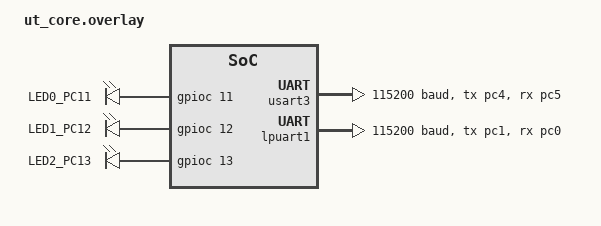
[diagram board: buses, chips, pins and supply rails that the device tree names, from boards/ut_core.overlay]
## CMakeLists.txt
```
# SPDX-License-Identifier: Apache-2.0

cmake_minimum_required(VERSION 3.20.0)

set(BOARD ut_core)

find_package(Zephyr REQUIRED HINTS $ENV{ZEPHYR_BASE})
project(gnss_node)

target_sources(app PRIVATE
    src/main.c
    #gps_test_app.c
    orion_b16/orion_b16_parser.c
    orion_b16/orion_b16_commands.c
    orion_b16/orion_b16_driver.c
    orion_b16/orion_b16_config.c
)

target_include_directories(app PRIVATE
    ${CMAKE_CURRENT_SOURCE_DIR}/orion_b16
    $ENV{ROOT}
)

add_subdirectory($ENV{ROOT}/common ${CMAKE_BINARY_DIR}/common)
target_link_libraries(app PRIVATE common)
```

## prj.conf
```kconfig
# # --- FLASH ---
# CONFIG_FLASH=y
# CONFIG_FLASH_MAP=y
# CONFIG_MPU_ALLOW_FLASH_WRITE=y

# CONFIG_CACHE_MANAGEMENT=y

# CONFIG_SERIAL=y
# CONFIG_UART_INTERRUPT_DRIVEN=y
# CONFIG_I2C=y
# CONFIG_CAN=y
# CONFIG_CAN_STM32_FDCAN=y

# # --- CONSOLE (UART on USART3) ---
# CONFIG_CONSOLE=y
# CONFIG_STDOUT_CONSOLE=y
# CONFIG_UART_CONSOLE=y

# # --- PRINTK / LOGGING ---
# CONFIG_PRINTK=y
# CONFIG_LOG=y
# CONFIG_LOG_BACKEND_UART=y
# CONFIG_LOG_MODE_DEFERRED=y
# CONFIG_LOG_BUFFER_SIZE=4096

# CONFIG_CBPRINTF_FP_SUPPORT=y

# CONFIG_MAIN_STACK_SIZE=4096

# CONFIG_GPIO=y
# CONFIG_CAN=y
# CONFIG_CAN_STM32_FDCAN=y

# # --- LOGGING & CONSOLE SETUP (RTT) ---
# # 1. Force the Console subsystem to stay ON
# CONFIG_CONSOLE=y
# CONFIG_STDOUT_CONSOLE=y

# # 2. Configure RTT as the backend
# CONFIG_USE_SEGGER_RTT=y
# CONFIG_RTT_CONSOLE=y

# # 3. Disable UART/Serial to prevent conflicts
# CONFIG_UART_CONSOLE=n
# CONFIG_SERIAL=n

# # 4. Connect Printk and Logging to RTT
# CONFIG_PRINTK=y
# CONFIG_LOG=y
# CONFIG_LOG_BACKEND_RTT=y
# CONFIG_LOG_BACKEND_UART=n
# CONFIG_LOG_MODE_IMMEDIATE=y

# CONFIG_NEWLIB_LIBC=y
# CONFIG_NEWLIB_LIBC_FLOAT_PRINTF=y


# ── Core ──
CONFIG_GPIO=y
CONFIG_I2C=y
CONFIG_MAIN_STACK_SIZE=4096

# ── Serial / UART (needed for GNSS on LPUART1) ──
CONFIG_SERIAL=y
CONFIG_UART_INTERRUPT_DRIVEN=y

# ── Console via Segger RTT (not UART) ──
CONFIG_CONSOLE=y
CONFIG_STDOUT_CONSOLE=y
CONFIG_USE_SEGGER_RTT=y
CONFIG_RTT_CONSOLE=y
CONFIG_UART_CONSOLE=n

# ── Logging via RTT ──
CONFIG_PRINTK=y
CONFIG_LOG=y
CONFIG_LOG_BACKEND_RTT=y
CONFIG_LOG_BACKEND_UART=n
CONFIG_LOG_MODE_IMMEDIATE=y
CONFIG_LOG_BUFFER_SIZE=4096

# ── Float printing (needed for lat/lon in LOG_INF) ──
CONFIG_NEWLIB_LIBC=y
CONFIG_NEWLIB_LIBC_FLOAT_PRINTF=y
CONFIG_CBPRINTF_FP_SUPPORT=y

# ── Flash ──
CONFIG_FLASH=y
CONFIG_FLASH_MAP=y
CONFIG_MPU_ALLOW_FLASH_WRITE=y
CONFIG_CACHE_MANAGEMENT=y

# ── CAN (if your board uses FDCAN) ──
CONFIG_CAN=y
CONFIG_CAN_STM32_FDCAN=y
CONFIG_CAN_FD_MODE=y
```

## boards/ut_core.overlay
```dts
#include <zephyr/dt-bindings/gpio/gpio.h>

/ {
    pins {
        compatible = "gpio-leds";

        led0: led_0 {
            gpios = <&gpioc 11 GPIO_ACTIVE_HIGH>;
            label = "LED0_PC11";
        };

        led1: led_1 {
            gpios = <&gpioc 12 GPIO_ACTIVE_HIGH>;
            label = "LED1_PC12";
        };

        led2: led_2 {
            gpios = <&gpioc 13 GPIO_ACTIVE_HIGH>;
            label = "LED2_PC13";
        };
    };

    aliases {
        led0 = &led0;
        led1 = &led1;
        led2 = &led2;
    };

    chosen {
        zephyr,console = &usart3;
    };
};

&pinctrl {
    /* Console UART: USART3 on PC4 (TX) / PC5 (RX) */
    usart3_tx_pc4: usart3_tx_pc4 {
        pinmux = <STM32_PINMUX('C', 4, AF7)>;
    };

    usart3_rx_pc5: usart3_rx_pc5 {
        pinmux = <STM32_PINMUX('C', 5, AF7)>;
    };

    /* GNSS UART: LPUART1 on PC1 (TX) / PC0 (RX) → Orion B16 */
    lpuart1_tx_pc1: lpuart1_tx_pc1 {
        pinmux = <STM32_PINMUX('C', 1, AF8)>;
    };

    lpuart1_rx_pc0: lpuart1_rx_pc0 {
        pinmux = <STM32_PINMUX('C', 0, AF8)>;
    };
};

/* Console to PC */
&usart3 {
    status = "okay";
    current-speed = <115200>;
    pinctrl-0 = <&usart3_tx_pc4 &usart3_rx_pc5>;
    pinctrl-names = "default";
};

/* GNSS receiver (Orion B16) */
&lpuart1 {
    status = "okay";
    current-speed = <115200>;
    pinctrl-0 = <&lpuart1_tx_pc1 &lpuart1_rx_pc0>;
    pinctrl-names = "default";
};
```

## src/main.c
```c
/**
 * @defgroup gnss GNSS
 * @ingroup apps
 * @brief Global Navigation Satellite System
 * @include{doc} ./apps/GNSS/README.md
 */

/**
 * @file main.c
 * @ingroup gnss
 * @brief Orion B16 GNSS driver + CAN telemetry for UT-CORE bus.
 *
 * Initializes the Orion B16 GNSS receiver over UART and a CAN transceiver,
 * then runs a loop broadcasting heartbeats and periodic GNSS state-of-health
 * and position telemetry, while a separate thread handles incoming CAN
 * commands (position queries, update-rate changes) from CDH.
 *
 * @todo move CAN code shared between apps into the `common/` directory at git root.
 */

#include <zephyr/kernel.h>
#include <zephyr/device.h>
#include <zephyr/devicetree.h>
#include <zephyr/drivers/gpio.h>
#include <zephyr/drivers/can.h>
#include <zephyr/logging/log.h>
#include <string.h>

#include "orion_b16_driver.h"
#include "orion_b16_protocol.h"
#include "orion_b16_messages.h"
#include "common/can_proto.h"

/** @cond */ /* Hidden from Doxygen, or it will mistake this as a function */
LOG_MODULE_REGISTER(gnss_app, CONFIG_LOG_DEFAULT_LEVEL);
/** @endcond */

/* ===================================================== */
/* ================= CAN PROTOCOL ====================== */
/* ===================================================== */
/*
 * @name CAN Protocol
 * @brief Node IDs, priorities, and timing constants used on the bus.
 * @{
 */

#define NODE_ID       GNSS_ID   /* 0x06 */
#define NODE_CDH      CDH_ID    /* 0x01 */

#define PRIO_HIGH  0
#define PRIO_MED   2
#define PRIO_LOW   4

#define TIME_INTERVAL_MS   (60*60*1000) /* Send GPS time to CDH every hour */


/* @} */

/* ===================================================== */
/* ================= HW DEVICES ======================== */
/* ===================================================== */
/*
 * @name Hardware Devices
 * @brief GPIO/CAN device handles, transceiver pins, GNSS driver instance,
 *        and the CAN RX message queue.
 * @{
 */

static const struct device *const gpioa  = DEVICE_DT_GET(DT_NODELABEL(gpioa));
static const struct device *const can_dev = DEVICE_DT_GET(DT_NODELABEL(fdcan1));

/* GNSS driver instance */
static orion_driver_t gnss_driver;

/** @cond */ /* Hidden from Doxygen, or it will mistake this as a function */
/* CAN RX queue */
CAN_MSGQ_DEFINE(rxq, 16);
/** @endcond */

/* @} */

/* ===================================================== */
/* ================= CAN TX ============================ */
/* ===================================================== */
/*
 * @name CAN TX
 * @brief Outbound CAN frame construction: heartbeat, state-of-health, and
 *        position telemetry.
 * @{
 */

/**
 * @brief Broadcast an OP_HEARTBEAT frame announcing this node is alive.
 *
 * Sent periodically from main()'s loop at HEARTBEAT_INTERVAL_MS.
 */
static void send_heartbeat(void)
{
    int err = can_send2(can_dev, NODE_ID, CAN_BROADCAST, OP_HEARTBEAT, PRIO_LOW, 0x00, 0x00);
    if (err) {
        LOG_WRN("Failed to send CAN reply: %d", err);
    }
    LOG_INF("TX heartbeat");
}

/**
 * @brief Send a state-of-health frame: fix status, SV count, and DOP.
 *
 * Packs fix mode, satellite count, HDOP/PDOP (scaled by 10 and clamped to
 * 255), configured update rate, and a driver-running status flag into an
 * 8-byte OP_SOH_GNSS frame addressed to CDH.
 *
 * Payload:
 *   [0] fix_mode  (0=none, 2=2D, 3=3D, 4=3D+DGPS)
 *   [1] sv_count
 *   [2] HDOP * 10  (clamped to 255)
 *   [3] PDOP * 10  (clamped to 255)
 *   [4] update_rate_hz
 *   [5] status flags (bit0 = driver running)
 *   [6..7] unused (0)
 *
 * @todo hdop/pdop are divided by 10 under a comment claiming the source
 *       value is already ×100 ("we want *10"), but the resulting math
 *       (÷10 on a ×100 value) yields ×10 scale only if that premise is
 *       correct — worth double-checking against orion_nav_data_t's actual
 *       documented units to confirm hdop/pdop aren't ×1000 or similar,
 *       since a silent scale error here wouldn't be caught by the clamp.
 */
static void send_gnss_soh(void)
{
    orion_nav_data_t nav;
    orion_driver_get_nav(&gnss_driver, &nav);

    uint16_t hdop10 = nav.hdop / 10;  /* hdop is *100, we want *10 */
    uint16_t pdop10 = nav.pdop / 10;
    if (hdop10 > 255) hdop10 = 255;
    if (pdop10 > 255) pdop10 = 255;

    uint8_t flags = gnss_driver.running ? 0x01 : 0x00;

    int err = can_send8(can_dev, NODE_ID, NODE_CDH, OP_SOH_GNSS, PRIO_LOW,
        nav.fix_mode,
        nav.sv_count,
        (uint8_t)hdop10,
        (uint8_t)pdop10,
        gnss_driver.cfg.update_rate_hz,
        flags,
        0,
        0
    );
    if (err) {
        LOG_WRN("Failed to send OP_SOH_GNSS: %d", err);
    }

    LOG_INF("TX SOH  fix=%u sv=%u hdop=%u pdop=%u",
            nav.fix_mode, nav.sv_count, (unsigned)hdop10, (unsigned)pdop10);
}

/**
 * @brief Send the current position to CDH as one 12-byte CAN FD frame.
 *
 * Does nothing if the current nav fix is not valid.
 *
 * Frame layout (OP_GNSS_POS), all signed 32-bit big-endian:
 *   [0..3]  latitude  (1e-7 degrees)
 *   [4..7]  longitude (1e-7 degrees)
 *   [8..11] ellipsoid altitude (cm)
 */
static void send_gnss_position(const orion_nav_data_t *nav)
{
    uint8_t buf[12];

    can_put_be32(&buf[0], nav->latitude_1e7);
    can_put_be32(&buf[4], nav->longitude_1e7);
    can_put_be32(&buf[8], (int32_t)nav->ellipsoid_alt_cm);

    int err = can_send12(can_dev, NODE_ID, NODE_CDH, OP_GNSS_POS, PRIO_MED, buf);
    if (err) {
        LOG_WRN("Failed to send OP_GNSS_POS: %d", err);
    }

    double lat = ORION_DEG_FROM_1E7(nav->latitude_1e7);
    double lon = ORION_DEG_FROM_1E7(nav->longitude_1e7);
    LOG_INF("TX POS  lat=%.7f lon=%.7f alt=%d cm", lat, lon, (int)nav->ellipsoid_alt_cm);
}


/**
 * @brief Send the ECEF velocity to CDH as one 12-byte CAN FD frame.
 *
 * All three axes come from the same nav snapshot in a single frame, so they
 * are consistent by construction (no sequence number needed).
 *
 * Frame layout (OP_GNSS_VEL), all signed 32-bit big-endian, cm/s:
 *   [0..3] ECEF vx    [4..7] ECEF vy    [8..11] ECEF vz
 */
static void send_gnss_velocity(const orion_nav_data_t *nav)
{
    uint8_t buf[12];

    can_put_be32(&buf[0], nav->ecef_vx_cms);
    can_put_be32(&buf[4], nav->ecef_vy_cms);
    can_put_be32(&buf[8], nav->ecef_vz_cms);

    int err = can_send12(can_dev, NODE_ID, NODE_CDH, OP_GNSS_VEL, PRIO_MED, buf);
    if (err) {
        LOG_WRN("Failed to send OP_GNSS_VEL: %d", err);
    }

    LOG_INF("TX VEL  vx=%d vy=%d vz=%d cm/s",
            (int)nav->ecef_vx_cms, (int)nav->ecef_vy_cms, (int)nav->ecef_vz_cms);
}

/**
 * @brief Send position and velocity for the current nav fix (two CAN FD
 *        frames). Does nothing if the nav data is not valid.
 */
static void send_gnss_master(void)
{
    orion_nav_data_t nav;
    orion_driver_get_nav(&gnss_driver, &nav);

    if (!nav.valid) {
        return;  /* don't send garbage */
    }

    send_gnss_position(&nav);
    send_gnss_velocity(&nav);
}


/**
 * @brief Send the current GPS time (week + time-of-week) to CDH.
 * @return true if a frame was sent; false if there is no usable fix, in
 *         which case the caller should retry on its next pass.
 *
 * The time is GPS time, not UTC (GPS is currently ahead of UTC by the
 * leap-second count). Conversion is deliberately left to CDH/ground. The
 * value is the time of the receiver's last nav solution, so it is up to
 * about one nav interval old when sent, plus bus latency.
 *
 * Frame layout:
 *   [0..1] GPS week, unsigned 16-bit big-endian
 *   [2..5] time of week in centiseconds, unsigned 32-bit big-endian
 */
static bool send_gnss_time(void)
{
    orion_nav_data_t nav;
    orion_driver_get_nav(&gnss_driver, &nav);

    if (!nav.valid || nav.fix_mode == 0) {
        return false; /*don't send a time if no fix found*/
    }

    /* week: 16-bit big-endian; time-of-week: 32-bit big-endian centiseconds;
     * bytes 6..7 unused (0) */
    int err = can_send8(can_dev, NODE_ID, NODE_CDH, OP_GNSS_TIME, PRIO_MED,
        (nav.gnss_week >> 8) & 0xFF,
        (nav.gnss_week) & 0xFF,
        (nav.tow_cs >> 24) & 0xFF,
        (nav.tow_cs >> 16) & 0xFF,
        (nav.tow_cs >> 8) & 0xFF,
        (nav.tow_cs) & 0xFF,
        0,
        0
    );
    if (err) {
        LOG_WRN("Failed to send OP_GNSS_TIME: %d", err);
    }
    LOG_INF("TX TIME week=%u tow=%u.%02u s", nav.gnss_week,
            nav.tow_cs / 100, nav.tow_cs % 100);
    return true;
}
/* @} */

/* ===================================================== */
/* ================= CAN RX ============================ */
/* ===================================================== */
/*
 * @name CAN RX
 * @brief Inbound CAN frame decoding and message dispatch.
 * @{
 */


/**
 * @brief Handle an incoming command frame from CDH.
 * @param pkt Decoded CAN packet; pkt->op is the opcode.
 *
 * OP_GET_POS replies immediately with the current position plus an
 * OP_RESP_GET_POS ack. OP_SET_UPDATE_RATE (data[0] = requested rate in
 * Hz) attempts to apply the new rate via the GNSS driver and replies with
 * OP_RESP_SET_UPDATE_RATE carrying the accepted rate on success or 0x00 on
 * failure.
 */
static void handle_command(const can_packet_t *pkt)
{
    switch (pkt->op) {
    case OP_GET_POS: {
        /* CDH asked for current position — reply immediately */
        send_gnss_master();
        int err = can_send2(can_dev, NODE_ID, pkt->src, OP_RESP_GET_POS, PRIO_LOW, 0x01, 0x00);
        if (err) {
            LOG_WRN("Failed to send CAN reply: %d", err);
        }
        LOG_INF("RX query position from 0x%02X", pkt->src);
        break;
    }

    case OP_SET_UPDATE_RATE: {
        /* data[0] = new rate in Hz */
        uint8_t rate = pkt->data[0];
        int rc = orion_driver_set_update_rate(&gnss_driver, rate);
        uint8_t ack_val = (rc == 1) ? rate : 0x00;
        int err = can_send2(can_dev, NODE_ID, pkt->src, OP_RESP_SET_UPDATE_RATE, PRIO_LOW, ack_val, 0x00);
        if (err) {
            LOG_WRN("Failed to send CAN reply: %d", err);
        }
        LOG_INF("RX set update rate=%u Hz → %s", rate, rc == 1 ? "ACK" : "NACK");
        break;
    }

    default:
        LOG_WRN("Unknown command opcode: 0x%03X", pkt->op);
        break;
    }
}

/**
 * @brief Handle a received OP_HEARTBEAT frame.
 * @param pkt Decoded CAN packet.
 *
 * Currently only logs the sender; no liveness table is maintained here.
 */
static void handle_heartbeat(const can_packet_t *pkt)
{
    LOG_INF("RX heartbeat from 0x%02X", pkt->src);
}

/**
 * @brief Route a decoded CAN packet to its handler by opcode.
 * @param pkt Decoded CAN packet.
 *
 * Dispatches OP_HEARTBEAT to handle_heartbeat() and OP_GET_POS /
 * OP_SET_UPDATE_RATE to handle_command(). Unrecognized opcodes are logged
 * as warnings and dropped.
 */
static void can_dispatch(const can_packet_t *pkt)
{
    switch (pkt->op) {
    case OP_HEARTBEAT:       handle_heartbeat(pkt); break;
    case OP_GET_POS:
    case OP_SET_UPDATE_RATE: handle_command(pkt);   break;
    default:
        LOG_WRN("Unhandled op: 0x%03X from 0x%02X", pkt->op, pkt->src);
        break;
    }
}

/* @} */

/* ===================================================== */
/* ================= CAN SETUP ========================= */
/* ===================================================== */
/*
 * @name CAN Setup
 * @brief Transceiver wakeup and CAN controller/filter initialization.
 * @{
 */

/* @} */

/* ===================================================== */
/* ================= CAN RX THREAD ===================== */
/* ===================================================== */
/*
 * @name CAN RX Thread
 * @brief Dedicated thread draining the CAN RX queue and dispatching
 *        received frames.
 * @{
 */

#define CAN_RX_STACK_SIZE  1024
#define CAN_RX_PRIORITY    5

/**
 * @brief Thread entry point: blocks on the CAN RX queue, decoding and
 *        dispatching each frame as it arrives.
 * @param a Unused thread argument.
 * @param b Unused thread argument.
 * @param c Unused thread argument.
 */
static void can_rx_thread(void *a, void *b, void *c)
{
    struct can_frame frame;
    can_packet_t pkt;

    while (1) {
        if (k_msgq_get(&rxq, &frame, K_FOREVER) == 0) {
            if (can_decode(&frame, &pkt) != 0) {
                continue;
            }
            can_dispatch(&pkt);
        }
    }
}

/** @cond */ /* Hidden from Doxygen, or it will mistake this as a function */
K_THREAD_DEFINE(can_rx_tid, CAN_RX_STACK_SIZE,
    can_rx_thread, NULL, NULL, NULL,
    CAN_RX_PRIORITY, 0, 0);
/** @endcond */

/* @} */

/* ===================================================== */
/* ============== GNSS NAV CALLBACK ==================== */
/* ===================================================== */
/*
 * @name GNSS Nav Callback
 * @brief Callback invoked by the Orion driver whenever a new nav fix is
 *        available.
 * @{
 */

/**
 * @brief Nav-update callback registered with the Orion driver.
 * @param nav  Latest nav fix data from the GNSS driver.
 * @param user Unused user-data pointer (registered as NULL).
 *
 * Logs fix mode, position, altitude, velocity, and satellite count when
 * the fix is valid; logs a warning and returns early otherwise.
 */
static void on_nav_update(const orion_nav_data_t *nav, void *user)
{
    (void)user;

    if (!nav->valid) {
        LOG_WRN("NAV callback: invalid fix");
        return;
    }

    double lat = ORION_DEG_FROM_1E7(nav->latitude_1e7);
    double lon = ORION_DEG_FROM_1E7(nav->longitude_1e7);
    double alt = ORION_M_FROM_CM(nav->msl_alt_cm);

    const char *fix_str;
    switch (nav->fix_mode) {
        case ORION_FIX_2D:      fix_str = "2D";       break;
        case ORION_FIX_3D:      fix_str = "3D";       break;
        case ORION_FIX_3D_DGPS: fix_str = "3D+DGPS";  break;
        default:                fix_str = "NONE";      break;
    }

    LOG_INF("FIX %s | lat=%.6f lon=%.6f alt=%.2fm | SVs=%u | vx=%d vy=%d vz=%d cm/s",
            fix_str, lat, lon, alt, nav->sv_count,
            nav->ecef_vx_cms, nav->ecef_vy_cms, nav->ecef_vz_cms);
}

/* @} */

/* ===================================================== */
/* ================= MAIN ============================== */
/* ===================================================== */
/*
 * @name Main
 * @brief Application entry point.
 * @{
 */

/* Forward declaration for config recipe */
extern int orion_config_cubesat_default(orion_driver_t *drv, uint8_t rate_hz, bool save);

#define HEARTBEAT_INTERVAL_MS   1000
#define SOH_INTERVAL_MS         5000
#define POS_INTERVAL_MS         5000

/**
 * @brief Entry point: initializes the GNSS driver and CAN bus, then runs
 *        the main loop broadcasting heartbeats and periodic telemetry.
 *
 * Boot sequence: verify GPIOA is ready, initialize and start the Orion
 * B16 GNSS driver over UART with a nav-update callback registered, apply
 * the default CubeSat GNSS config, then wake the CAN transceiver and
 * bring up the bus. The main loop sends a heartbeat every
 * HEARTBEAT_INTERVAL_MS, a state-of-health frame every SOH_INTERVAL_MS,
 * and position telemetry plus a detailed nav/stats log line every
 * POS_INTERVAL_MS.
 *
 * @return Returns the driver init/start error code early on failure, or 0
 *         if GPIOA isn't ready; otherwise does not return under normal
 *         operation.
 */
int main(void)
{
    LOG_INF("=== Orion B16 GNSS + CAN Application ===");

    /* ── GPIO check ── */
    if (!device_is_ready(gpioa)) {
        LOG_ERR("GPIOA not ready");
        return 0;
    }

    /* ── GNSS driver init ── */
    orion_driver_cfg_t cfg = ORION_DRIVER_CFG_DEFAULTS;
    cfg.uart_dev = DEVICE_DT_GET(DT_NODELABEL(lpuart1));

    int rc = orion_driver_init(&gnss_driver, &cfg);
    if (rc != 0) {
        LOG_ERR("GNSS driver init failed: %d", rc);
        return rc;
    }

    orion_driver_register_nav_callback(&gnss_driver, on_nav_update, NULL);

    rc = orion_driver_start(&gnss_driver);
    if (rc != 0) {
        LOG_ERR("GNSS driver start failed: %d", rc);
        return rc;
    }

    orion_config_cubesat_default(&gnss_driver, 1, false);
    LOG_INF("GNSS driver running, waiting for fix...");

    /* ── CAN bus init ── */
    tcan3403_wakeup();
    int err = can_setup(can_dev, NODE_ID, &rxq, NULL);
    if (err) {
        LOG_ERR("CAN Setup failed: %d", err);
        return 0;
    }

    LOG_INF("Running — GNSS + CAN active");

    /* ── Main loop ── */
    int64_t last_hb  = k_uptime_get();
    int64_t last_soh = k_uptime_get();
    int64_t last_pos = k_uptime_get();
    /* Start one interval in the past so the first time frame goes out on the
     * first good fix; later, last_time only resets after a successful send,
     * so a missed hour is retried on the next pass instead of waiting
     * another hour. */
    int64_t last_time = -(int64_t)TIME_INTERVAL_MS;

    while (1) {
        int64_t now = k_uptime_get();

        if ((now - last_hb) >= HEARTBEAT_INTERVAL_MS) {
            send_heartbeat();
            last_hb = now;
        }

        if ((now - last_soh) >= SOH_INTERVAL_MS) {
            send_gnss_soh();
            last_soh = now;
        }

        if ((now - last_pos) >= POS_INTERVAL_MS) {
            send_gnss_master();

            /* Print detailed nav + stats on the same 5s cadence */
            orion_nav_data_t nav;
            orion_driver_get_nav(&gnss_driver, &nav);
            if (nav.valid) {
                double lat = ORION_DEG_FROM_1E7(nav.latitude_1e7);
                double lon = ORION_DEG_FROM_1E7(nav.longitude_1e7);
                double alt = ORION_M_FROM_CM(nav.msl_alt_cm);
                LOG_INF("NAV fix=%u sv=%u lat=%.6f lon=%.6f alt=%.2fm vx=%d vy=%d vz=%d cm/s",
                        nav.fix_mode, nav.sv_count, lat, lon, alt,
                        nav.ecef_vx_cms, nav.ecef_vy_cms, nav.ecef_vz_cms);
            } else {
                LOG_INF("No valid fix yet.");
            }

            uint32_t rx_b, tx_b, nav_cnt, f_ok, f_err;
            orion_driver_get_stats(&gnss_driver, &rx_b, &tx_b, &nav_cnt, &f_ok, &f_err);
            LOG_INF("Stats: RX=%u TX=%u nav=%u ok=%u err=%u",
                    rx_b, tx_b, nav_cnt, f_ok, f_err);

            last_pos = now;
        }
        if ((now - last_time) >= TIME_INTERVAL_MS) {
            if (send_gnss_time()) {
                last_time = now;
            }
        }

        k_msleep(100);
    }

    return 0;
}

/* @} */
```
